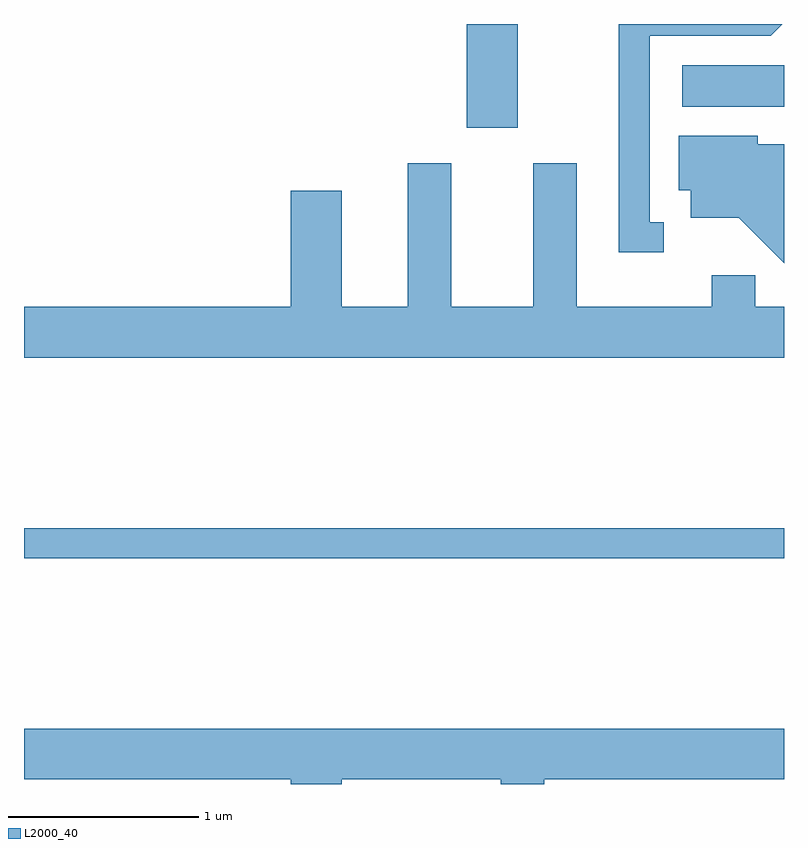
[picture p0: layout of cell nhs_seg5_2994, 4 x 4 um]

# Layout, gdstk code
import gdstk
lib = gdstk.Library(unit=1e-6, precision=1e-09)
def R(c, l, rs):  # rectangles x0, y0, x1, y1
    for r in rs: c.add(gdstk.rectangle(r[:2], r[2:], *l))
def P(c, l, *ps):  # polygons
    for p in ps: c.add(gdstk.Polygon(p, *l))
L2000_40 = (2000, 40)

nhs_seg5_2994 = lib.new_cell('nhs_seg5_2994')
R(nhs_seg5_2994, L2000_40, [(273.611,1491.261,277.611,1491.419), (275.941,1493.526,276.209,1494.072), (277.076,1493.636,277.611,1493.854)])
P(nhs_seg5_2994, L2000_40, [(276.978,1493.029),(276.904,1493.029),(276.904,1494.011),(277.542,1494.011),(277.603,1494.072),(276.741,1494.072),(276.741,1492.871),(276.978,1492.871)],
  [(277.611,1493.439),(277.474,1493.439),(277.474,1493.484),(277.056,1493.484),(277.056,1493.196),(277.121,1493.196),(277.121,1493.051),(277.374,1493.051),(277.611,1492.814)],
  [(277.611,1492.584),(277.459,1492.584),(277.459,1492.749),(277.231,1492.749),(277.231,1492.584),(276.519,1492.584),(276.519,1493.339),(276.291,1493.339),(276.291,1492.584),(275.859,1492.584),(275.859,1493.339),(275.631,1493.339),(275.631,1492.584),(275.284,1492.584),(275.284,1493.194),(275.016,1493.194),(275.016,1492.584),(273.611,1492.584),(273.611,1492.316),(277.611,1492.316)],
  [(275.284,1490.096),(276.121,1490.096),(276.121,1490.072),(276.349,1490.072),(276.349,1490.096),(277.611,1490.096),(277.611,1490.364),(273.611,1490.364),(273.611,1490.096),(275.016,1490.096),(275.016,1490.072),(275.284,1490.072)])

lib.write_gds('nhs_seg5_2994.gds')
